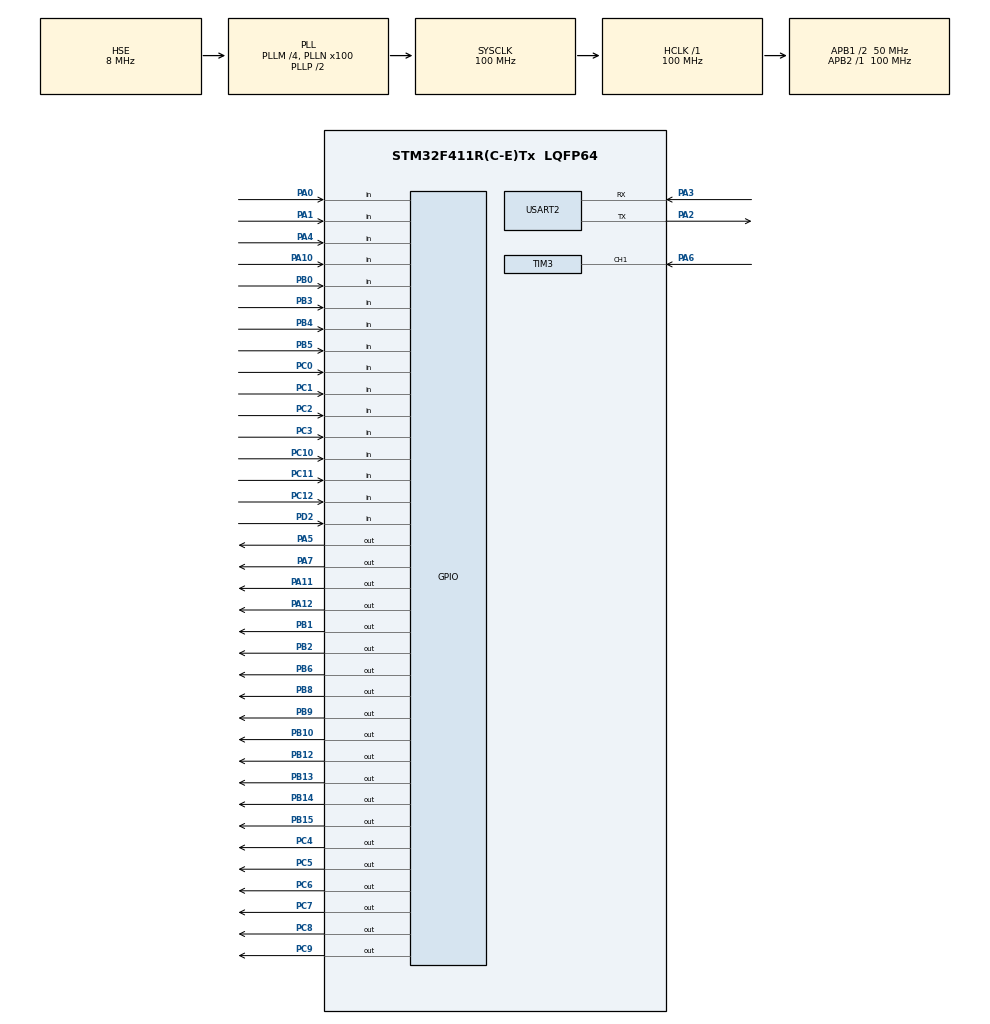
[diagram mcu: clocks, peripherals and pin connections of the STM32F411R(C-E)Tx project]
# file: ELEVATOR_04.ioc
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Mcu.Family=STM32F4
Mcu.Name=STM32F411R(C-E)Tx
Mcu.Package=LQFP64
NVIC.PriorityGroup=NVIC_PRIORITYGROUP_4
NVIC.TIM1_UP_TIM10_IRQn=true\:0\:0\:false\:false\:true\:true\:true\:true
NVIC.TIM3_IRQn=true\:0\:0\:false\:false\:true\:true\:true\:true
NVIC.USART2_IRQn=true\:0\:0\:false\:false\:true\:true\:true\:true
PA0-WKUP.GPIO_PuPd=GPIO_PULLUP
PA0-WKUP.Signal=GPIO_Input
PA1.GPIO_PuPd=GPIO_PULLUP
PA1.Signal=GPIO_Input
PA10.GPIO_PuPd=GPIO_PULLUP
PA10.Signal=GPIO_Input
PA11.Signal=GPIO_Output
PA12.Signal=GPIO_Output
PA2.Mode=Asynchronous
PA2.Signal=USART2_TX
PA3.Mode=Asynchronous
PA3.Signal=USART2_RX
PA4.GPIO_PuPd=GPIO_PULLUP
PA4.Signal=GPIO_Input
PA5.Signal=GPIO_Output
PA6.Signal=S_TIM3_CH1
PA7.Signal=GPIO_Output
PB0.GPIO_PuPd=GPIO_PULLUP
PB0.Signal=GPIO_Input
PB1.Signal=GPIO_Output
PB10.Signal=GPIO_Output
PB12.Signal=GPIO_Output
PB13.Signal=GPIO_Output
PB14.Signal=GPIO_Output
PB15.Signal=GPIO_Output
PB2.Signal=GPIO_Output
PB3.GPIO_PuPd=GPIO_PULLUP
PB3.Signal=GPIO_Input
PB4.GPIO_PuPd=GPIO_PULLUP
PB4.Signal=GPIO_Input
PB5.GPIO_PuPd=GPIO_PULLUP
PB5.Signal=GPIO_Input
PB6.Signal=GPIO_Output
PB8.Signal=GPIO_Output
PB9.Signal=GPIO_Output
PC0.GPIO_PuPd=GPIO_PULLUP
PC0.Signal=GPIO_Input
PC1.GPIO_PuPd=GPIO_PULLUP
PC1.Signal=GPIO_Input
PC10.GPIO_PuPd=GPIO_PULLUP
PC10.Signal=GPIO_Input
PC11.GPIO_PuPd=GPIO_PULLUP
PC11.Signal=GPIO_Input
PC12.GPIO_PuPd=GPIO_PULLUP
PC12.Signal=GPIO_Input
PC2.GPIO_PuPd=GPIO_PULLUP
PC2.Signal=GPIO_Input
PC3.GPIO_PuPd=GPIO_PULLUP
PC3.Signal=GPIO_Input
PC4.Signal=GPIO_Output
PC5.Signal=GPIO_Output
PC6.Signal=GPIO_Output
PC7.Signal=GPIO_Output
PC8.Signal=GPIO_Output
PC9.Signal=GPIO_Output
PD2.GPIO_PuPd=GPIO_PULLUP
PD2.Signal=GPIO_Input
PH0\ -\ OSC_IN.Mode=HSE-External-Clock-Source
PH0\ -\ OSC_IN.Signal=RCC_OSC_IN
PH1\ -\ OSC_OUT.Mode=HSE-External-Clock-Source
PH1\ -\ OSC_OUT.Signal=RCC_OSC_OUT
ProjectManager.HeapSize=0x200
ProjectManager.StackSize=0x400
ProjectManager.TargetToolchain=STM32CubeIDE
RCC.48MHZClocksFreq_Value=50000000
RCC.AHBFreq_Value=100000000
RCC.APB1CLKDivider=RCC_HCLK_DIV2
RCC.APB1Freq_Value=50000000
RCC.APB1TimFreq_Value=100000000
RCC.APB2Freq_Value=100000000
RCC.APB2TimFreq_Value=100000000
RCC.CortexFreq_Value=100000000
RCC.HCLKFreq_Value=100000000
RCC.HSE_VALUE=8000000
RCC.HSI_VALUE=16000000
RCC.LSE_VALUE=32768
RCC.PLLM=4
RCC.PLLN=100
RCC.PLLSourceVirtual=RCC_PLLSOURCE_HSE
RCC.SYSCLKFreq_VALUE=100000000
RCC.SYSCLKSource=RCC_SYSCLKSOURCE_PLLCLK
RCC.VCOOutputFreq_Value=200000000
SH.S_TIM3_CH1.0=TIM3_CH1,Input_Capture1_from_TI1
TIM11.Prescaler=100-1
TIM3.Channel-Input_Capture1_from_TI1=TIM_CHANNEL_1
TIM3.Prescaler=100-1
USART2.VirtualMode=VM_ASYNC
VP_TIM10_VS_ClockSourceINT.Mode=Enable_Timer
VP_TIM11_VS_ClockSourceINT.Mode=Enable_Timer
VP_TIM3_VS_ClockSourceINT.Mode=Internal
board=custom

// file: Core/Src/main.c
/* USER CODE BEGIN Header */
/**
  ******************************************************************************
  * @file           : main.c
  * @brief          : Main program body
  ******************************************************************************
  * @attention
  *
  * Copyright (c) 2026 STMicroelectronics.
  * All rights reserved.
  *
  * This software is licensed under terms that can be found in the LICENSE file
  * in the root directory of this software component.
  * If no LICENSE file comes with this software, it is provided AS-IS.
  *
  ******************************************************************************
  */
/* USER CODE END Header */
#include "main.h"
#include "tim.h"
#include "usart.h"
#include "gpio.h"

/* USER CODE BEGIN Includes */
#include "stdio.h"

#include "elevator.h"
#include "stepper_t.h"

//#include "led.h"
#include "segment.h"
/* USER CODE END Includes */

/* USER CODE BEGIN PV */

Stepper_t stepper;

/* USER CODE END PV */

void SystemClock_Config(void);
/* USER CODE BEGIN PFP */

// uart
int _write(int file, char* p, int len){
    HAL_UART_Transmit(&huart2, (char *)p, len, 10);
    return len;
}

void HAL_TIM_PeriodElapsedCallback(TIM_HandleTypeDef *htim)
{
if(htim->Instance == TIM10)
    {
        Stepper_ISR(&stepper);
    }
}
void DEBUG_ElevatorStatus(uint8_t STT);
/* USER CODE END PFP */

int main(void)
{

  /* MCU Configuration--------------------------------------------------------*/

  /* Reset of all peripherals, Initializes the Flash interface and the Systick. */
  HAL_Init();

  /* Configure the system clock */
  SystemClock_Config();

  /* Initialize all configured peripherals */
  MX_GPIO_Init();
  MX_TIM3_Init();
  MX_TIM11_Init();
  MX_USART2_UART_Init();
  MX_TIM10_Init();
  /* USER CODE BEGIN 2 */

  HAL_TIM_Base_Start(&htim11);                // delay_us
  HAL_TIM_IC_Start_IT(&htim3, TIM_CHANNEL_1); // Ultrasonic waves

  // 엘베의 현재위치값으로 초기화.
  //fl_check(&ele, &fl);
  elvinit(&ele, &fl);

  // 초기값 설정
  Stepper_Init(&stepper, &htim10);

  uint8_t STT = idle; //초기
  /* USER CODE END 2 */

  /* Infinite loop */
  /* USER CODE BEGIN WHILE */
  while (1)
  {
    /**
     * =================
     * 마지막 과제
     * 예약 취소를 하거나 처음 시작할 때 초기위치가 특정되지 않는 경우의 상황 처리.
     * 1. 예약 취소
     * 2. 초기화시 위치조정.
     * =================
     */
    Stepper_Task(&stepper);
    fl_check(&ele, &fl);  // 현재위치 반환
    res(&ele,&fl);        //예약 잡기 취소
    STT = ele.num[0].state; // === res 에서 모든 예약이 이동중 취소되면 이동하고있는 가장 가까운 층으로 이동후 idle 진입해야 함.===

    segmentDisplay(ele.num[0].current + 1);

    DEBUG_ElevatorStatus(STT); // 메인함수 제일 아래에 선언됨(제미나이 코드)

    switch(STT)
    {
      case(idle) :
      {
        ledOff(8);
        Do(&ele,&fl);
        break;
      }
      case(force_up):
      case(force_down):
      {
        ledRightShift_Task(8);
        ABSGoing(&ele, &fl, &stepper);
        break;
      }
      case(go_up) : // 위로
      case(go_down): // AI
      {
        ledLeftShift_Task(8);
        Going(&ele, &fl,&stepper);
        break;
      }
      case(waiting) :
      {
        ledOff(8);
        Open(&ele, &fl);
        break;
      }
      default:
      {

      }
    }
    /* USER CODE END WHILE */

  }
}

void SystemClock_Config(void)
{
  RCC_OscInitTypeDef RCC_OscInitStruct = {0};
  RCC_ClkInitTypeDef RCC_ClkInitStruct = {0};

  /** Configure the main internal regulator output voltage
  */
  __HAL_RCC_PWR_CLK_ENABLE();
  __HAL_PWR_VOLTAGESCALING_CONFIG(PWR_REGULATOR_VOLTAGE_SCALE1);

  /** Initializes the RCC Oscillators according to the specified parameters
  * in the RCC_OscInitTypeDef structure.
  */
  RCC_OscInitStruct.OscillatorType = RCC_OSCILLATORTYPE_HSE;
  RCC_OscInitStruct.HSEState = RCC_HSE_BYPASS;
  RCC_OscInitStruct.PLL.PLLState = RCC_PLL_ON;
  RCC_OscInitStruct.PLL.PLLSource = RCC_PLLSOURCE_HSE;
  RCC_OscInitStruct.PLL.PLLM = 4;
  RCC_OscInitStruct.PLL.PLLN = 100;
  RCC_OscInitStruct.PLL.PLLP = RCC_PLLP_DIV2;
  RCC_OscInitStruct.PLL.PLLQ = 4;
  if (HAL_RCC_OscConfig(&RCC_OscInitStruct) != HAL_OK)
  {
    Error_Handler();
  }

  /** Initializes the CPU, AHB and APB buses clocks
  */
  RCC_ClkInitStruct.ClockType = RCC_CLOCKTYPE_HCLK|RCC_CLOCKTYPE_SYSCLK
                              |RCC_CLOCKTYPE_PCLK1|RCC_CLOCKTYPE_PCLK2;
  RCC_ClkInitStruct.SYSCLKSource = RCC_SYSCLKSOURCE_PLLCLK;
  RCC_ClkInitStruct.AHBCLKDivider = RCC_SYSCLK_DIV1;
  RCC_ClkInitStruct.APB1CLKDivider = RCC_HCLK_DIV2;
  RCC_ClkInitStruct.APB2CLKDivider = RCC_HCLK_DIV1;

  if (HAL_RCC_ClockConfig(&RCC_ClkInitStruct, FLASH_LATENCY_3) != HAL_OK)
  {
    Error_Handler();
  }
}

/* USER CODE BEGIN 4 */
void DEBUG_ElevatorStatus(uint8_t STT)
{
    static uint32_t lastLogTime = 0;
    if (HAL_GetTick() - lastLogTime < 500) return;
    lastLogTime = HAL_GetTick();

    const char* stateNames[] = {"IDLE", "UP", "DOWN", "WAIT", "Force_UP", "Force_DN"};

    printf("\r\n--- Elevator Status ---");
    if (STT <= 5) printf("\r\nState:  [%s]", stateNames[STT]);
    else          printf("\r\nState:  [ERR:%d]", STT);

    printf("\r\nFloor:  Current[%d] -> Goal[%d]", ele.num[0].current + 1, ele.num[0].goal + 1);

    if (STT == force_up || STT == force_down) {
        printf(" (Target: %dF)", ele.num[0].absol_idx + 1);
    }

    printf("\r\nRes:    ");
    for(int i = 0; i < TOP; i++) {
        char u = (fl.floor[i].upstate == fl_Up) ? 'U' : '-';
        char d = (fl.floor[i].downstate == fl_Down) ? 'D' : '-';
        char b = (ele.num[0].reserve[i] == ele_busy) ? 'B' : '-';
        char a = (i == ele.num[0].absol_idx && (STT == force_up || STT == force_down)) ? '@' : ' ';
        printf("[%d:%c%c%c%c] ", i+1, u, d, b, a);
    }
    printf("\r\n-----------------------\r\n");
}
/* USER CODE END 4 */

void Error_Handler(void)
{
  __disable_irq();
  while (1)
  {
  }
}
